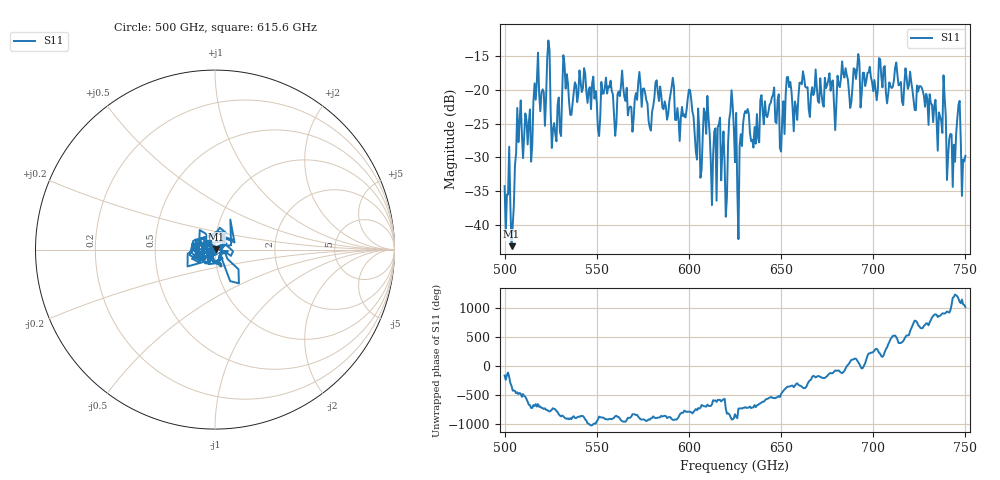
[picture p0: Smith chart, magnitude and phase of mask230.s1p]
!Created with skrf (http://scikit-rf.org).
# GHz S MA R 50.0
!freq magS11 angS11
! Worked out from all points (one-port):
!   401 points, 500 GHz to 750 GHz, reference 50 ohm
!   lowest |S11| = -43.1 dB at 503.8 GHz (marker M1), VSWR 1.01, Z = 50.7 + j0.224 ohm
!   |S11| at or under -10 dB: start of sweep to end of sweep
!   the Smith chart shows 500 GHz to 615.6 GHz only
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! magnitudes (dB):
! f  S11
! 500 GHz  -34.2
! 503.8 GHz  -43.1
! 507.5 GHz  -27.7
! 513.8 GHz  -22.9
! 516.9 GHz  -21.5
! 523.8 GHz  -12.7
! 526.9 GHz  -24.9
! 531.2 GHz  -20.4
! 562.5 GHz  -21.0
! 579.4 GHz  -26.0
! 590.6 GHz  -19.6
! 593.8 GHz  -22.7
! 600.6 GHz  -20.1
! 605.6 GHz  -25.9
! 609.4 GHz  -26.5
! 619.4 GHz  -31.0
! 622.5 GHz  -23.2
! 625 GHz  -30.7
! 627.5 GHz  -28.3
! 631.2 GHz  -23.4
! 635 GHz  -28.5
! 656.2 GHz  -22.7
! 687.5 GHz  -22.7
! 718.8 GHz  -19.9
! 738.1 GHz  -17.9
! 743.1 GHz  -34.3
! 746.2 GHz  -22.2
! 750 GHz  -29.7
